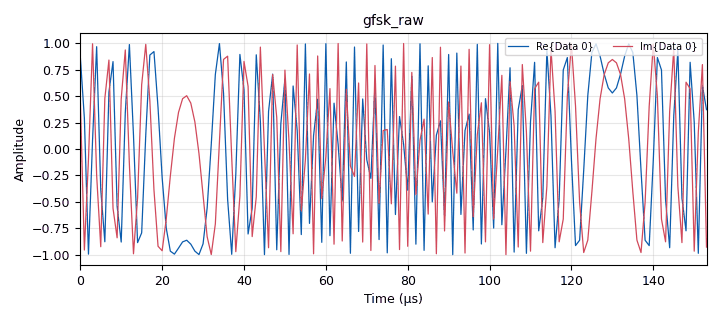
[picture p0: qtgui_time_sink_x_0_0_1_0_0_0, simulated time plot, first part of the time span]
options:
  parameters:
    author: qsq
    generate_options: qt_gui
    id: Interface_Wave_Generator
    output_language: python
    title: Interface Wave Generator
  states: {}

blocks:
- name: samp_rate
  id: variable
  parameters:
    value: '1000000'
  states: {}
- name: blocks_multiply_const_vxx_0
  id: blocks_multiply_const_vxx
  parameters:
    const: '0.3'
    type: complex
  states: {}
- name: blocks_throttle_0
  id: blocks_throttle
  parameters:
    samples_per_second: '432000'
    type: complex
  states: {state: disabled}
- name: blocks_uchar_to_float_1
  id: blocks_uchar_to_float
  parameters: {}
  states: {state: disabled}
- name: blocks_uchar_to_float_1_0
  id: blocks_uchar_to_float
  parameters: {}
  states: {}
- name: blocks_unpack_k_bits_bb_0
  id: blocks_unpack_k_bits_bb
  parameters:
    k: '8'
  states: {}
- name: digital_gfsk_demod_0_0
  id: digital_gfsk_demod
  parameters:
    freq_error: '0.0'
    gain_mu: '0.05'
    log: 'True'
    mu: '0.5'
    omega_relative_limit: '0.02'
    samples_per_symbol: '52'
    sensitivity: '2.8323'
  states: {}
- name: digital_gfsk_mod_0_0
  id: digital_gfsk_mod
  parameters:
    bt: '0.35'
    do_unpack: 'False'
    log: 'True'
    samples_per_symbol: '52'
    sensitivity: '2.8323'
  states: {}
- name: epy_block_0
  id: epy_block
  parameters:
    _source_code: "#!/usr/bin/env python3\nimport numpy as np\nfrom gnuradio import gr\nimport random\nimport string\n\n\n# 干扰波数据生成块 (密钥+随机填充)\nclass gfsk_data_source(gr.sync_block):\n    def __init__(self):\n        gr.sync_block.__init__(self, name=\"GFSK Data Source\", in_sig=None, out_sig=[np.uint8])\n        \n        # 帧结构参数\n        self.ACCESS_CODE = bytes([0x16, 0xE8, 0xD3, 0x77, 0x15, 0x1C, 0x71, 0x2D])\n        self.LENGTH_CHECK = bytes([0x00, 0x0F, 0x00, 0x0F])\n        self.SOF = 0xA5\n        self.CMD_ID = bytes([0x0A, 0x06])\n        self.DATALENGTH = 6\n        self.TARGET_BYTES_PER_SEC = 1350                                                                      # 干扰输出:1350 Bytes/s\n        self.PACKET_FREQ_HZ = 10                                                                              # 数据包体推送速率: 10Hz\n        self.CYCLE_TIME = 1.0 / self.PACKET_FREQ_HZ\n        self.BYTES_PER_CYCLE = self.TARGET_BYTES_PER_SEC // self.PACKET_FREQ_HZ\n        \n        # 计算帧长度\n        self.data_frame_len = 5 + len(self.CMD_ID) + self.DATALENGTH + 2                                      # 数据帧 5 + 6 + 2 + 2 = 15\n        self.air_frame_len = len(self.ACCESS_CODE) + len(self.LENGTH_CHECK) + self.data_frame_len             # 空口帧 8 + 4 + 15 = 27\n        self.pad_len = self.BYTES_PER_CYCLE - self.air_frame_len                                              # 填充长度 135 - 27 = 108\n        self.seq = 0                                                                                          # 包序号 0-255循环\n\n        self._packet_buffer = bytearray()\n        print(f\"Packet length (bytes): {self.air_frame_len + self.pad_len}\")\n\n    def crc8_atm(self, data: bytes) -> int:\n        poly = 0x07\n        crc = 0x00\n        for byte in data:\n            crc ^= byte\n            for _ in range(8):\n                if crc & 0x80:\n                    crc = ((crc << 1) ^ poly) & 0xFF\n                else:\n                    crc = (crc << 1) & 0xFF\n        return crc\n\n    def crc16_ccitt(self, data: bytes) -> int:\n        poly = 0x1021\n        crc = 0xFFFF\n        for byte in data:\n            crc ^= (byte << 8)\n            for _ in range(8):\n                if crc & 0x8000:\n                    crc = ((crc << 1) ^ poly) & 0xFFFF\n                else:\n                    crc = (crc << 1) & 0xFFFF\n        return crc\n\n    def generate_ascii_bytes(self, length: int) -> bytes:\n        chars = string.printable[:95]\n        return ''.join(random.choices(chars, k=length)).encode('ascii')\n\n    def build_structured_frame(self, seq: int) -> bytes:\n        data = b\"rmnb66\"\n        datalength_bytes = bytes([(self.DATALENGTH >> 8) & 0xFF, self.DATALENGTH & 0xFF])\n        header_prefix = bytes([self.SOF]) + datalength_bytes + bytes([seq])\n        crc8 = self.crc8_atm(header_prefix)\n        frame_header = header_prefix + bytes([crc8])\n        crc_input = frame_header + self.CMD_ID + data\n        crc16_val = self.crc16_ccitt(crc_input)\n        crc16_bytes = bytes([(crc16_val >> 8) & 0xFF, crc16_val & 0xFF])\n        return crc_input + crc16_bytes\n\n    def next_packet(self):  #生成完整数据包\n        structured = self.build_structured_frame(self.seq)\n        packet = self.ACCESS_CODE + self.LENGTH_CHECK + structured\n        padding = self.generate_ascii_bytes(self.pad_len) if self.pad_len > 0 else b''\n        self.seq = (self.seq + 1) % 256\n        return packet + padding\n\n    def work(self, input_items, output_items):\n        out = output_items[0]\n        max_output = len(out)\n        bytes_written = 0\n\n        # 缓存为空时，生成新数据包\n        if len(self._packet_buffer) == 0:\n            self._packet_buffer = bytearray(self.next_packet())\n\n        send_len = min(len(self._packet_buffer), max_output)\n        if send_len > 0:\n            # 复制缓存数据到输出\n            out[:send_len] = np.frombuffer(self._packet_buffer[:send_len], dtype=np.uint8)\n            # 移除已发送的数据\n            del self._packet_buffer[:send_len]\n            bytes_written = send_len\n\n        return bytes_written\n\n"
  states: {}
- name: epy_block_1
  id: epy_block
  parameters:
    _source_code: |-
      #!/usr/bin/env python3
      import numpy as np
      from gnuradio import gr
      import pmt


      class gfsk_key_decoder(gr.basic_block):
          """
          输入：GFSK Demod 输出的 unpacked bit stream，每个 uint8 只使用 LSB，值为 0 或 1。
          输出：每帧解出的 6 字节密钥数据，例如 b"123456"。
          """

          def __init__(self, max_access_errors=0, debug=True):
              gr.basic_block.__init__(
                  self,
                  name="GFSK Key Decoder",
                  in_sig=[np.uint8],
                  out_sig=[np.uint8],
              )

              self.ACCESS_CODE = bytes([0x16, 0xE8, 0xD3, 0x77, 0x15, 0x1C, 0x71, 0x2D])
              self.EXPECTED_LEN = 15
              self.SOF = 0xA5
              self.CMD_ID = bytes([0x0A, 0x06])
              self.KEY_LEN = 6

              self.max_access_errors = int(max_access_errors)
              self.debug = bool(debug)

              self.access_bits = self.bytes_to_bits(self.ACCESS_CODE)
              self.bitbuf = bytearray()

              self.packet_len_key = pmt.intern("packet_len")
              self.seq_key = pmt.intern("seq")

          def bytes_to_bits(self, data: bytes):
              bits = []
              for b in data:
                  for i in range(7, -1, -1):
                      bits.append((b >> i) & 1)
              return bits

          def bits_to_bytes(self, bits):
              n = len(bits) // 8
              out = bytearray(n)
              for i in range(n):
                  v = 0
                  for b in bits[i * 8:(i + 1) * 8]:
                      v = (v << 1) | (b & 1)
                  out[i] = v
              return bytes(out)

          def crc8_atm(self, data: bytes) -> int:
              poly = 0x07
              crc = 0x00
              for byte in data:
                  crc ^= byte
                  for _ in range(8):
                      if crc & 0x80:
                          crc = ((crc << 1) ^ poly) & 0xFF
                      else:
                          crc = (crc << 1) & 0xFF
              return crc

          def crc16_ccitt(self, data: bytes) -> int:
              poly = 0x1021
              crc = 0xFFFF
              for byte in data:
                  crc ^= (byte << 8)
                  for _ in range(8):
                      if crc & 0x8000:
                          crc = ((crc << 1) ^ poly) & 0xFFFF
                      else:
                          crc = (crc << 1) & 0xFFFF
              return crc

          def find_access_code(self):
              """
              在 bitbuf 中搜索 access code。
              返回匹配起点；找不到返回 -1。
              """
              n = len(self.access_bits)
              limit = len(self.bitbuf) - n + 1
              if limit <= 0:
                  return -1

              access = self.access_bits
              max_err = self.max_access_errors

              for i in range(limit):
                  err = 0
                  for j in range(n):
                      if self.bitbuf[i + j] != access[j]:
                          err += 1
                          if err > max_err:
                              break
                  if err <= max_err:
                      return i

              return -1

          def parse_payload(self, payload: bytes):
              """
              payload 是 access code + 4字节 LENGTH_CHECK 之后的 15 字节结构帧：

              SOF             1 byte
              DATALENGTH      2 bytes
              SEQ             1 byte
              CRC8            1 byte
              CMD_ID          2 bytes
              DATA            6 bytes
              CRC16           2 bytes
              """
              if len(payload) != self.EXPECTED_LEN:
                  return None

              if payload[0] != self.SOF:
                  return None

              data_len = (payload[1] << 8) | payload[2]
              seq = payload[3]
              rx_crc8 = payload[4]

              header_prefix = payload[0:4]
              calc_crc8 = self.crc8_atm(header_prefix)
              if rx_crc8 != calc_crc8:
                  return None

              cmd = payload[5:7]
              if cmd != self.CMD_ID:
                  return None

              if data_len != self.KEY_LEN:
                  return None

              data_start = 7
              data_end = data_start + data_len
              key_data = payload[data_start:data_end]

              rx_crc16 = (payload[-2] << 8) | payload[-1]
              calc_crc16 = self.crc16_ccitt(payload[:-2])
              if rx_crc16 != calc_crc16:
                  return None

              return seq, key_data

          def general_work(self, input_items, output_items):
              inp = input_items[0]
              out = output_items[0]

              # GFSK Demod 输出每个 uint8 的 LSB 是 bit。
              if len(inp) > 0:
                  self.bitbuf.extend((inp & 0x01).astype(np.uint8).tolist())

              produced = 0

              access_bits_len = len(self.access_bits)
              header_bits_len = 32
              min_header_bits = access_bits_len + header_bits_len

              while produced + self.KEY_LEN <= len(out):
                  pos = self.find_access_code()

                  if pos < 0:
                      # 保留最后 63 bit，防止 access code 跨 work 调用边界。
                      keep = access_bits_len - 1
                      if len(self.bitbuf) > keep:
                          del self.bitbuf[:-keep]
                      break

                  # 丢弃 access code 前面的杂散 bit。
                  if pos > 0:
                      del self.bitbuf[:pos]

                  # 等待 access code + 32 bit 长度头。
                  if len(self.bitbuf) < min_header_bits:
                      break

                  header_bits = self.bitbuf[access_bits_len:min_header_bits]
                  header = self.bits_to_bytes(header_bits)

                  # header 格式：00 0F 00 0F，即 16-bit length 重复两次。
                  len1 = (header[0] << 8) | header[1]
                  len2 = (header[2] << 8) | header[3]

                  if len1 != len2 or len1 <= 0 or len1 > 512:
                      # 假同步，右移 1 bit 继续搜索。
                      del self.bitbuf[0]
                      continue

                  payload_len_bytes = len1
                  total_bits = access_bits_len + header_bits_len + payload_len_bytes * 8

                  if len(self.bitbuf) < total_bits:
                      break

                  payload_bits = self.bitbuf[min_header_bits:total_bits]
                  payload = self.bits_to_bytes(payload_bits)

                  parsed = self.parse_payload(payload)

                  if parsed is not None:
                      seq, key_data = parsed

                      abs_off = self.nitems_written(0) + produced
                      self.add_item_tag(
                          0,
                          abs_off,
                          self.packet_len_key,
                          pmt.from_long(len(key_data)),
                      )
                      self.add_item_tag(
                          0,
                          abs_off,
                          self.seq_key,
                          pmt.from_long(seq),
                      )

                      out[produced:produced + len(key_data)] = np.frombuffer(
                          key_data, dtype=np.uint8
                      )
                      produced += len(key_data)

                      if self.debug:
                          try:
                              ascii_text = key_data.decode("ascii")
                          except Exception:
                              ascii_text = repr(key_data)
                          print(
                              "[GFSK RX] seq=%03d key_hex=%s key_ascii=%s"
                              % (seq, key_data.hex(" "), ascii_text)
                          )

                      # 丢弃整个已解析帧。
                      del self.bitbuf[:total_bits]
                  else:
                      # CRC/SOF/CMD 错误，说明是假同步或 bit 错误，右移 1 bit 重搜。
                      del self.bitbuf[0]

              self.consume(0, len(inp))
              return produced
    debug: 'True'
    max_access_errors: '0'
  states: {}
- name: iio_pluto_sink_0
  id: iio_pluto_sink
  parameters:
    attenuation1: '0'
    bandwidth: '940000'
    buffer_size: '32768'
    cyclic: 'False'
    filter_source: '''Auto'''
    frequency: '432200000'
    samplerate: samp_rate
    type: fc32
    uri: ip:192.168.2.1
  states: {}
- name: iio_pluto_source_0
  id: iio_pluto_source
  parameters:
    bandwidth: '940000'
    bbdc: 'True'
    buffer_size: '32768'
    filter_source: '''Auto'''
    frequency: '432200000'
    gain1: '''manual'''
    manual_gain1: '40'
    quadrature: 'True'
    rfdc: 'True'
    samplerate: samp_rate
    type: fc32
    uri: ip:192.168.2.1
  states: {}
- name: qtgui_time_sink_x_0_0_1_0_0
  id: qtgui_time_sink_x
  parameters:
    name: '"raw"'
    size: '1024'
    srate: samp_rate
    type: float
  states: {state: disabled}
- name: qtgui_time_sink_x_0_0_1_0_0_0
  id: qtgui_time_sink_x
  parameters:
    autoscale: 'True'
    name: '"gfsk_raw"'
    size: '1024'
    srate: samp_rate
    type: complex
  states: {}
- name: qtgui_time_sink_x_0_0_1_0_0_1
  id: qtgui_time_sink_x
  parameters:
    name: '"raw2"'
    size: '1024'
    srate: samp_rate
    type: float
  states: {}
- name: qtgui_time_sink_x_0_0_1_0_0_1_0
  id: qtgui_time_sink_x
  parameters:
    name: '"rec_raw"'
    size: '1024'
    srate: samp_rate
    type: complex
  states: {}

connections:
- [blocks_multiply_const_vxx_0, '0', iio_pluto_sink_0, '0']
- [blocks_throttle_0, '0', digital_gfsk_demod_0_0, '0']
- [blocks_uchar_to_float_1, '0', qtgui_time_sink_x_0_0_1_0_0, '0']
- [blocks_uchar_to_float_1_0, '0', qtgui_time_sink_x_0_0_1_0_0_1, '0']
- [blocks_unpack_k_bits_bb_0, '0', digital_gfsk_mod_0_0, '0']
- [digital_gfsk_demod_0_0, '0', epy_block_1, '0']
- [digital_gfsk_mod_0_0, '0', blocks_multiply_const_vxx_0, '0']
- [digital_gfsk_mod_0_0, '0', blocks_throttle_0, '0']
- [digital_gfsk_mod_0_0, '0', qtgui_time_sink_x_0_0_1_0_0_0, '0']
- [epy_block_0, '0', blocks_uchar_to_float_1, '0']
- [epy_block_0, '0', blocks_unpack_k_bits_bb_0, '0']
- [epy_block_1, '0', blocks_uchar_to_float_1_0, '0']
- [iio_pluto_source_0, '0', digital_gfsk_demod_0_0, '0']
- [iio_pluto_source_0, '0', qtgui_time_sink_x_0_0_1_0_0_1_0, '0']

metadata:
  file_format: 1
